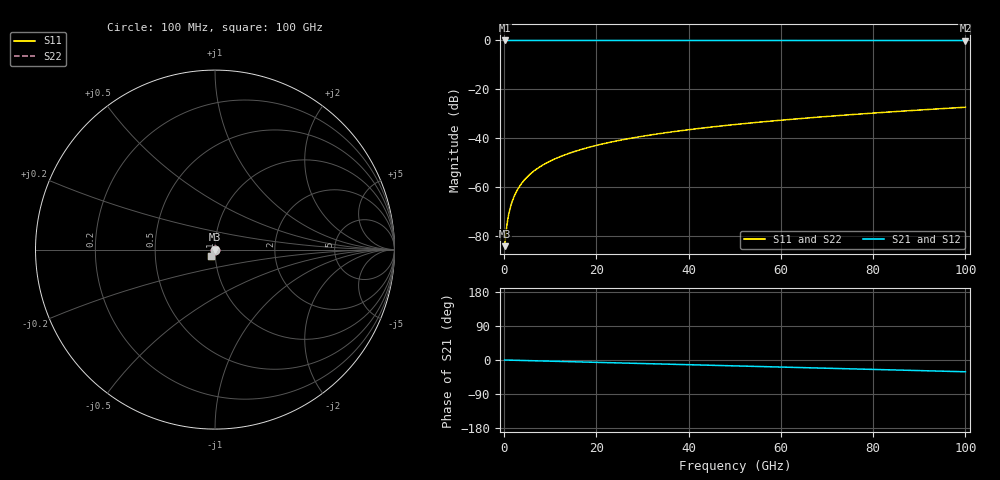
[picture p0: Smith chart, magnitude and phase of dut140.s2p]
! Touchstone file exported from HFSS 2026.1.0
!  File:  C:/ffzhzh/LocalFiles/Ansys_Project_Files/temp_train_TSV_140_1783506433_44152.aedt
!  Generated:  06:28:20 PM Jul  8, 2026
!  Design:  TSV
!  Project:  temp_train_TSV_140_1783506433_44152
! Variables:
!  h_bsmrdl = 2um
!  h_ox = 20um
!  h_rdl = 5um
!  h_sub = 57.77um
!  h_tmrdl = 5um
!  h_tsv = 57.77um
!  h_via = 3um
!  l_bsmrdl = 300um
!  l_sub = 428.6um
!  l_tmrdl = 200um
!  m_sub = 200um
!  pitch = 53.02um
!  r_tsv = 14.3um
!  s_tmrdl = 10um
!  w_bsmrdl = 18um
!  w_sub = 500um
!  w_tmrdl = 12um
!  x_tsv_center1 = 206um
!  x_tsv_center2 = 524um
!  x_tsv_center3 = 736um
!  x_tsv_center4 = 1054um
!  x_tsv_center5 = 1266um
!  x_tsv_center6 = 1584um
# GHz S MA R 50.000000
! Terminal data exported
! Port[1] = TSV1_1_T1
! Port[2] = TSV1_1_T2
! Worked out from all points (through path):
!   1000 points, 100 MHz to 100 GHz, reference 50 ohm
!   highest |S21| = 0.00 dB at 100 MHz (marker M1); lowest = 0.0 dB at 100 GHz (marker M2)
!   group delay of S21, straight-line fit = 861 fs
!   lowest |S11| = -84.2 dB at 100 MHz (marker M3), VSWR 1.00, Z = 50 - j0.000462 ohm
!   |S11| at or under -10 dB: start of sweep to end of sweep
!   |S22| runs from -84.2 to -27.3 dB; largest |S21 - S12| = 2.1e-15
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0.1  6.132e-05 -4.3  0.9999 -0.0  0.9999 -0.0  6.132e-05 -4.3
! Gamma 0 0 0 0
! Port Impedance 50 0 50 0
0.3  9.107e-05 -17.1  0.9999 -0.1  0.9999 -0.1  9.107e-05 -17.1
0.5  0.0001377 -30.5  0.9999 -0.2  0.9999 -0.2  0.0001377 -30.5
1  0.0002783 -51.4  0.9998 -0.3  0.9998 -0.3  0.0002784 -51.4
1.3  0.0003681 -57.9  0.9998 -0.4  0.9998 -0.4  0.0003681 -57.9
1.6  0.0004601 -62.3  0.9998 -0.5  0.9998 -0.5  0.0004601 -62.3
1.9  0.0005542 -65.4  0.9998 -0.6  0.9998 -0.6  0.0005542 -65.4
2.5  0.000748 -69.6  0.9997 -0.8  0.9997 -0.8  0.000748 -69.6
3.1  0.0009479 -72.4  0.9997 -1.0  0.9997 -1.0  0.000948 -72.4
3.8  0.001187 -74.7  0.9997 -1.2  0.9997 -1.2  0.001187 -74.7
4.6  0.001465 -76.8  0.9996 -1.4  0.9996 -1.4  0.001465 -76.8
6.7  0.002206 -80.4  0.9996 -2.1  0.9996 -2.1  0.002206 -80.4
9.4  0.003177 -83.3  0.9995 -2.9  0.9995 -2.9  0.003177 -83.3
12.7  0.004377 -85.7  0.9994 -3.9  0.9994 -3.9  0.004377 -85.7
16.8  0.005898 -88.1  0.9993 -5.2  0.9993 -5.2  0.005898 -88.1
24.1  0.00866 -91.8  0.9991 -7.5  0.9991 -7.5  0.00866 -91.7
33.4  0.01226 -95.7  0.9989 -10.3  0.9989 -10.3  0.01226 -95.7
41.1  0.01532 -98.6  0.9987 -12.7  0.9987 -12.7  0.01532 -98.6
50.1  0.01903 -101.9  0.9985 -15.5  0.9985 -15.5  0.01903 -101.8
66.7  0.02628 -107.5  0.9982 -20.6  0.9982 -20.6  0.02629 -107.4
83.4  0.03426 -113.2  0.9977 -25.8  0.9977 -25.8  0.03426 -113.1
100  0.04294 -119.2  0.997 -31.1  0.997 -31.1  0.04295 -119.1
